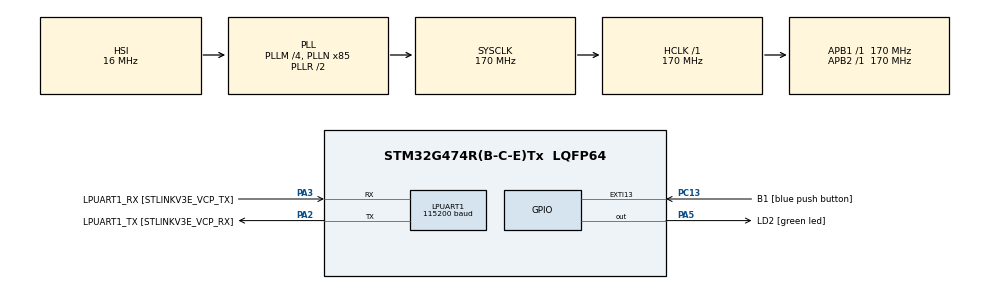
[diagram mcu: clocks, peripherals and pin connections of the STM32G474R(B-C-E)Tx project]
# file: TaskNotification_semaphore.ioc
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FREERTOS.Tasks01=defaultTask,24,128,StartDefaultTask,Default,NULL,Dynamic,NULL,NULL
FREERTOS.configENABLE_FPU=1
FREERTOS.configTOTAL_HEAP_SIZE=51200
FREERTOS.configUSE_NEWLIB_REENTRANT=1
LPUART1.BaudRate=115200
LPUART1.WordLength=UART_WORDLENGTH_8B
Mcu.Family=STM32G4
Mcu.Name=STM32G474R(B-C-E)Tx
Mcu.Package=LQFP64
NVIC.EXTI15_10_IRQn=true\:5\:0\:false\:false\:true\:true\:true\:true\:true
NVIC.PriorityGroup=NVIC_PRIORITYGROUP_4
NVIC.TIM1_UP_TIM16_IRQn=true\:15\:0\:false\:false\:true\:false\:false\:true\:true
NVIC.TimeBase=TIM1_UP_TIM16_IRQn
NVIC.TimeBaseIP=TIM1
PA13.GPIO_Label=T_SWDIO
PA13.Mode=Serial_Wire
PA13.Signal=SYS_JTMS-SWDIO
PA14.GPIO_Label=T_SWCLK
PA14.Mode=Serial_Wire
PA14.Signal=SYS_JTCK-SWCLK
PA2.GPIO_Label=LPUART1_TX [STLINKV3E_VCP_RX]
PA2.Mode=Asynchronous
PA2.Signal=LPUART1_TX
PA3.GPIO_Label=LPUART1_RX [STLINKV3E_VCP_TX]
PA3.Mode=Asynchronous
PA3.Signal=LPUART1_RX
PA5.GPIO_Label=LD2 [green led]
PA5.Signal=GPIO_Output
PB3.GPIO_Label=T_SWO
PB3.Signal=SYS_JTDO-SWO
PC13.GPIO_Label=B1 [blue push button]
PC13.Signal=GPXTI13
PC14-OSC32_IN.Mode=LSE-External-Oscillator
PC14-OSC32_IN.Signal=RCC_OSC32_IN
PC15-OSC32_OUT.Mode=LSE-External-Oscillator
PC15-OSC32_OUT.Signal=RCC_OSC32_OUT
PF0-OSC_IN.Mode=HSE-External-Oscillator
PF0-OSC_IN.Signal=RCC_OSC_IN
PF1-OSC_OUT.Mode=HSE-External-Oscillator
PF1-OSC_OUT.Signal=RCC_OSC_OUT
ProjectManager.HeapSize=0x200
ProjectManager.StackSize=0x400
ProjectManager.TargetToolchain=STM32CubeIDE
RCC.ADC12Freq_Value=170000000
RCC.ADC345Freq_Value=170000000
RCC.AHBFreq_Value=170000000
RCC.APB1Freq_Value=170000000
RCC.APB1TimFreq_Value=170000000
RCC.APB2Freq_Value=170000000
RCC.APB2TimFreq_Value=170000000
RCC.CortexFreq_Value=170000000
RCC.EXTERNAL_CLOCK_VALUE=12288000
RCC.HCLKFreq_Value=170000000
RCC.HSE_VALUE=24000000
RCC.HSI48_VALUE=48000000
RCC.HSI_VALUE=16000000
RCC.PLLM=RCC_PLLM_DIV4
RCC.PLLN=85
RCC.RTCClockSelection=RCC_RTCCLKSOURCE_LSE
RCC.SYSCLKFreq_VALUE=170000000
RCC.SYSCLKSource=RCC_SYSCLKSOURCE_PLLCLK
RCC.USBFreq_Value=170000000
RCC.VCOOutputFreq_Value=340000000
VP_FREERTOS_VS_CMSIS_V2.Mode=CMSIS_V2
VP_SYS_VS_DBSignals.Mode=DisableDeadBatterySignals
VP_SYS_VS_tim1.Mode=TIM1
board=NUCLEO-G474RE

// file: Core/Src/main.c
/* USER CODE BEGIN Header */
/**
  ******************************************************************************
  * @file           : main.c
  * @brief          : Main program body
  ******************************************************************************
  * @attention
  *
  * Copyright (c) 2023 STMicroelectronics.
  * All rights reserved.
  *
  * This software is licensed under terms that can be found in the LICENSE file
  * in the root directory of this software component.
  * If no LICENSE file comes with this software, it is provided AS-IS.
  *
  ******************************************************************************
  */
/* USER CODE END Header */
#include "main.h"
#include "cmsis_os.h"
#include "usart.h"
#include "gpio.h"

/* USER CODE BEGIN Includes */
#include "stdio.h"
/* USER CODE END Includes */

/* USER CODE BEGIN PD */
#ifdef __GNUC__
#define PUTCHAR_PROTOTYPE int __io_putchar(int ch)
#else
#define PUTCHAR_PROTOTYPE int fputc(int ch, FILE *f)
#endif
// 串口输出调试信息
PUTCHAR_PROTOTYPE {
    HAL_UART_Transmit(&hlpuart1, (uint8_t *) &ch, 1, 0xFFFF);//阻塞方式打印,串口1
    return ch;
}
/* USER CODE END PD */

void SystemClock_Config(void);
void MX_FREERTOS_Init(void);

int main(void)
{

  /* MCU Configuration--------------------------------------------------------*/

  /* Reset of all peripherals, Initializes the Flash interface and the Systick. */
  HAL_Init();

  /* Configure the system clock */
  SystemClock_Config();

  /* Initialize all configured peripherals */
  MX_GPIO_Init();
  MX_LPUART1_UART_Init();

  /* Init scheduler */
  osKernelInitialize();  /* Call init function for freertos objects (in freertos.c) */
  MX_FREERTOS_Init();

  /* Start scheduler */
  osKernelStart();
  /* We should never get here as control is now taken by the scheduler */
  /* Infinite loop */
  while (1)
  {

  }
}

void SystemClock_Config(void)
{
  RCC_OscInitTypeDef RCC_OscInitStruct = {0};
  RCC_ClkInitTypeDef RCC_ClkInitStruct = {0};

  /** Configure the main internal regulator output voltage
  */
  HAL_PWREx_ControlVoltageScaling(PWR_REGULATOR_VOLTAGE_SCALE1_BOOST);

  /** Initializes the RCC Oscillators according to the specified parameters
  * in the RCC_OscInitTypeDef structure.
  */
  RCC_OscInitStruct.OscillatorType = RCC_OSCILLATORTYPE_HSI;
  RCC_OscInitStruct.HSIState = RCC_HSI_ON;
  RCC_OscInitStruct.HSICalibrationValue = RCC_HSICALIBRATION_DEFAULT;
  RCC_OscInitStruct.PLL.PLLState = RCC_PLL_ON;
  RCC_OscInitStruct.PLL.PLLSource = RCC_PLLSOURCE_HSI;
  RCC_OscInitStruct.PLL.PLLM = RCC_PLLM_DIV4;
  RCC_OscInitStruct.PLL.PLLN = 85;
  RCC_OscInitStruct.PLL.PLLP = RCC_PLLP_DIV2;
  RCC_OscInitStruct.PLL.PLLQ = RCC_PLLQ_DIV2;
  RCC_OscInitStruct.PLL.PLLR = RCC_PLLR_DIV2;
  if (HAL_RCC_OscConfig(&RCC_OscInitStruct) != HAL_OK)
  {
    Error_Handler();
  }

  /** Initializes the CPU, AHB and APB buses clocks
  */
  RCC_ClkInitStruct.ClockType = RCC_CLOCKTYPE_HCLK|RCC_CLOCKTYPE_SYSCLK
                              |RCC_CLOCKTYPE_PCLK1|RCC_CLOCKTYPE_PCLK2;
  RCC_ClkInitStruct.SYSCLKSource = RCC_SYSCLKSOURCE_PLLCLK;
  RCC_ClkInitStruct.AHBCLKDivider = RCC_SYSCLK_DIV1;
  RCC_ClkInitStruct.APB1CLKDivider = RCC_HCLK_DIV1;
  RCC_ClkInitStruct.APB2CLKDivider = RCC_HCLK_DIV1;

  if (HAL_RCC_ClockConfig(&RCC_ClkInitStruct, FLASH_LATENCY_4) != HAL_OK)
  {
    Error_Handler();
  }
}

void HAL_TIM_PeriodElapsedCallback(TIM_HandleTypeDef *htim)
{
  if (htim->Instance == TIM1) {
    HAL_IncTick();
  }
}

void Error_Handler(void)
{
  __disable_irq();
  while (1)
  {
  }
}

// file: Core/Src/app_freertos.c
/* USER CODE BEGIN Header */
/**
  ******************************************************************************
  * File Name          : app_freertos.c
  * Description        : Code for freertos applications
  ******************************************************************************
  * @attention
  *
  * Copyright (c) 2023 STMicroelectronics.
  * All rights reserved.
  *
  * This software is licensed under terms that can be found in the LICENSE file
  * in the root directory of this software component.
  * If no LICENSE file comes with this software, it is provided AS-IS.
  *
  ******************************************************************************
  */
/* USER CODE END Header */

#include "FreeRTOS.h"
#include "task.h"
#include "main.h"
#include "cmsis_os.h"

/* USER CODE BEGIN Includes */
#include "stdio.h"
/* USER CODE END Includes */

/* USER CODE BEGIN Variables */
// 创建任务句柄
TaskHandle_t taskHandle1;
TaskHandle_t taskHandle2;
/* USER CODE END Variables */
/* Definitions for defaultTask */
osThreadId_t defaultTaskHandle;
const osThreadAttr_t defaultTask_attributes = {
  .name = "defaultTask",
  .priority = (osPriority_t) osPriorityNormal,
  .stack_size = 128 * 4
};

/* USER CODE BEGIN FunctionPrototypes */
// 任务函数声明
void Task1(void *pvParameters);
void Task2(void *pvParameters);
/* USER CODE END FunctionPrototypes */

void StartDefaultTask(void *argument);

void MX_FREERTOS_Init(void); /* (MISRA C 2004 rule 8.1) */

void MX_FREERTOS_Init(void) {

  /* Create the thread(s) */
  /* creation of defaultTask */
  defaultTaskHandle = osThreadNew(StartDefaultTask, NULL, &defaultTask_attributes);

  /* USER CODE BEGIN RTOS_THREADS */
  /* add threads, ... */
    xTaskCreate(Task1,"task1",500,NULL,osPriorityLow,&taskHandle1);
    xTaskCreate(Task2,"task2",500,NULL,osPriorityLow,&taskHandle2);
  /* USER CODE END RTOS_THREADS */

}

void StartDefaultTask(void *argument)
{
  /* USER CODE BEGIN StartDefaultTask */
  /* Infinite loop */
  for(;;)
  {
      HAL_GPIO_TogglePin(LD2_GPIO_Port,LD2_Pin);
    osDelay(500);
  }
  /* USER CODE END StartDefaultTask */
}

/* USER CODE BEGIN Application */
void Task1(void *pvParameters) {
//    while (1){
//        printf("任务通知模拟二值信号量释放！\r\n");
//        xTaskNotifyGive(taskHandle2);
//        vTaskDelay(1000);
//    }

    while (1){
        printf("任务通知模拟计数型信号量释放！\r\n");
        xTaskNotifyGive(taskHandle2);
        vTaskDelay(500);
    }
}

void Task2(void *pvParameters) {
    uint32_t rev = 0;
//    while (1){
//        rev = ulTaskNotifyTake(pdTRUE, portMAX_DELAY);
//        if (rev != 0){
//            printf("接收任务通知成功，模拟获取二值信号量！\r\n");
//        }
//    }

    while (1){
        rev = ulTaskNotifyTake(pdFALSE, portMAX_DELAY);
        if (rev != 0){
            printf("rev:%d\n",rev);
        }
        vTaskDelay(1000);
    }
}
/* USER CODE END Application */
